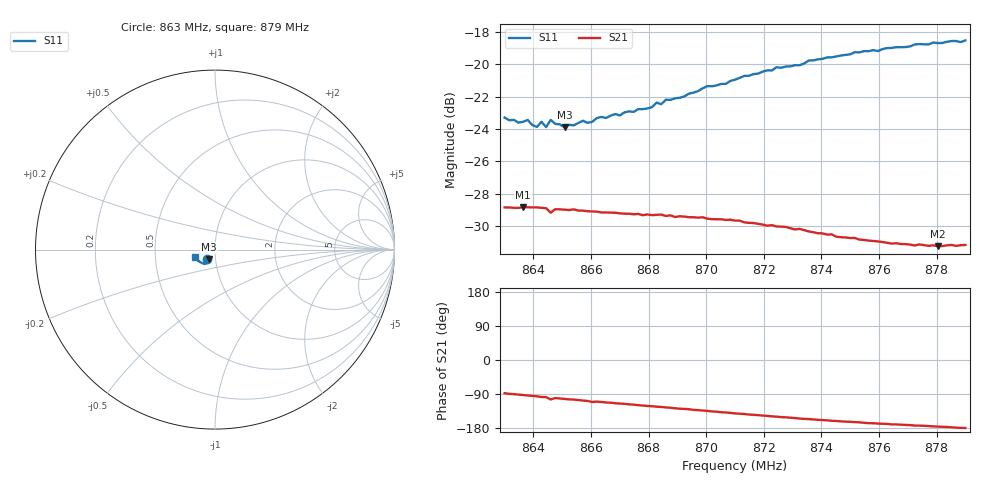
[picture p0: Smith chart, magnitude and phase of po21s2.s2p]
# HZ S RI R 50
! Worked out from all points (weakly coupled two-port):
!   101 points, 863 MHz to 879 MHz, reference 50 ohm
!   highest |S21| = -28.81 dB at 863.64 MHz (marker M1); lowest = -31.2 dB at 878.04 MHz (marker M2)
!   lowest |S11| = -23.9 dB at 865.08 MHz (marker M3), VSWR 1.14, Z = 46.5 - j5.08 ohm
!   |S11| at or under -10 dB: start of sweep to end of sweep
!   S12 and S22 are empty: the file has one direction only
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8.63e8  -0.0432 -0.0531  0.00148 -0.0362  0 0  0 0
8.6364e8  -0.0401 -0.053  -0.00152 -0.0362  0 0  0 0
8.638e8  -0.0404 -0.0538  -0.00229 -0.0362  0 0  0 0
8.6412e8  -0.0369 -0.0523  -0.00368 -0.036  0 0  0 0
8.6428e8  -0.0367 -0.0553  -0.00479 -0.0358  0 0  0 0
8.6444e8  -0.036 -0.0529  -0.00502 -0.0356  0 0  0 0
8.646e8  -0.039 -0.0549  -0.00844 -0.0338  0 0  0 0
8.6476e8  -0.0349 -0.0554  -0.00644 -0.0352  0 0  0 0
8.6508e8  -0.0335 -0.0544  -0.0078 -0.0347  0 0  0 0
8.6572e8  -0.0331 -0.0581  -0.0103 -0.0338  0 0  0 0
8.6588e8  -0.0325 -0.0574  -0.0109 -0.0335  0 0  0 0
8.6636e8  -0.0354 -0.0589  -0.0124 -0.0327  0 0  0 0
8.6796e8  -0.0332 -0.065  -0.0179 -0.0294  0 0  0 0
8.6828e8  -0.0353 -0.0674  -0.0188 -0.0287  0 0  0 0
8.6844e8  -0.0351 -0.0665  -0.0192 -0.0286  0 0  0 0
8.686e8  -0.0356 -0.069  -0.0196 -0.0278  0 0  0 0
8.71e8  -0.0485 -0.0752  -0.0256 -0.0208  0 0  0 0
8.7244e8  -0.06 -0.0772  -0.0272 -0.0161  0 0  0 0
8.7372e8  -0.0697 -0.0754  -0.0279 -0.0119  0 0  0 0
8.7644e8  -0.0937 -0.0617  -0.0276 -0.0049  0 0  0 0
8.7804e8  -0.1052 -0.049  -0.0274 -0.00201  0 0  0 0
8.79e8  -0.1118 -0.0385  -0.0277 -0.000271  0 0  0 0
